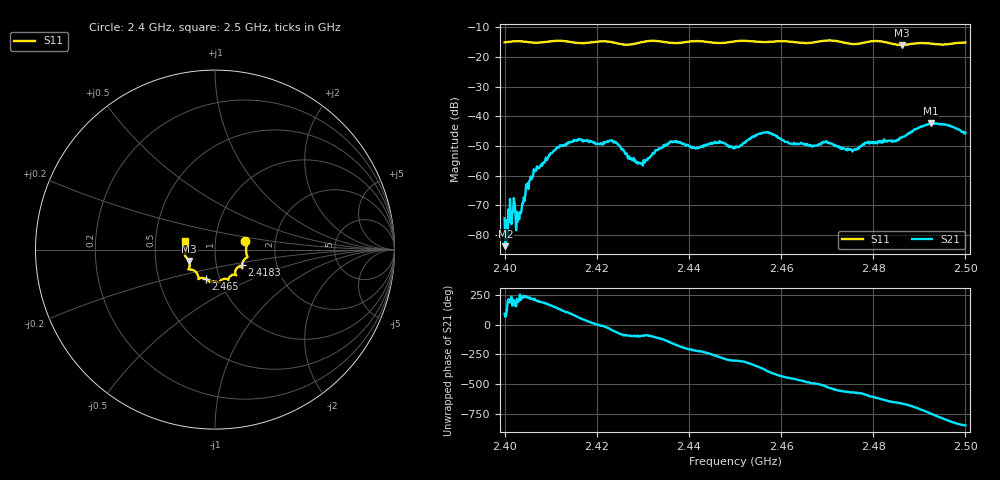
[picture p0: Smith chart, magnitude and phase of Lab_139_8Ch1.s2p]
# Hz S RI R 50
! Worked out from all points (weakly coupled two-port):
!   601 points, 2.4 GHz to 2.5 GHz, reference 50 ohm
!   highest |S21| = -42.35 dB at 2.4925 GHz (marker M1); lowest = -83.7 dB at 2.4002 GHz (marker M2)
!   lowest |S11| = -16.0 dB at 2.4862 GHz (marker M3), VSWR 1.37, Z = 37.1 - j4.82 ohm
!   |S11| at or under -10 dB: start of sweep to end of sweep
!   S12 and S22 are empty: the file has one direction only
!   S11 on the Smith chart (normalised r, x): 2.4 GHz: 1.40, +0.13; 2.4183 GHz: 1.33, -0.24; 2.465 GHz: 0.86, -0.29; 2.5 GHz: 0.71, +0.07
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2.4e9  0.1688 0.0459  -5.11e-06 0.000192  0 0  0 0
2.400167e9  0.1699 0.0451  2.61e-05 5.99e-05  0 0  0 0
2.401667e9  0.1774 0.0379  -0.000217 7.65e-05  0 0  0 0
2.403e9  0.18 0.0326  -0.000229 -4.76e-05  0 0  0 0
2.405167e9  0.1757 0.0173  -0.000414 -0.000431  0 0  0 0
2.406833e9  0.1728 -0.00134  -0.00111 -0.000462  0 0  0 0
2.411667e9  0.1818 -0.0409  -0.00204 0.00223  0 0  0 0
2.416667e9  0.1554 -0.0685  0.00258 0.00313  0 0  0 0
2.418333e9  0.1501 -0.0872  0.00334 0.00149  0 0  0 0
2.4235e9  0.146 -0.0972  0.00247 -0.00277  0 0  0 0
2.4295e9  0.1131 -0.133  -0.000125 -0.00159  0 0  0 0
2.433333e9  0.117 -0.1413  -0.000976 -0.00254  0 0  0 0
2.4365e9  0.0948 -0.1422  -0.0034 -0.00129  0 0  0 0
2.45e9  0.0253 -0.1808  0.0017 0.00258  0 0  0 0
2.456667e9  -0.00697 -0.1772  0.00494 -0.002  0 0  0 0
2.465e9  -0.0527 -0.1621  -0.00156 -0.00307  0 0  0 0
2.466667e9  -0.0714 -0.1577  -0.00206 -0.0023  0 0  0 0
2.475833e9  -0.109 -0.1222  -0.00241 0.00135  0 0  0 0
2.483333e9  -0.1421 -0.0959  0.000964 0.00376  0 0  0 0
2.486167e9  -0.1445 -0.0634  0.00236 0.00374  0 0  0 0
2.4925e9  -0.1656 -0.0237  0.0068 -0.00346  0 0  0 0
2.5e9  -0.1669 0.0471  -0.00321 -0.00426  0 0  0 0
